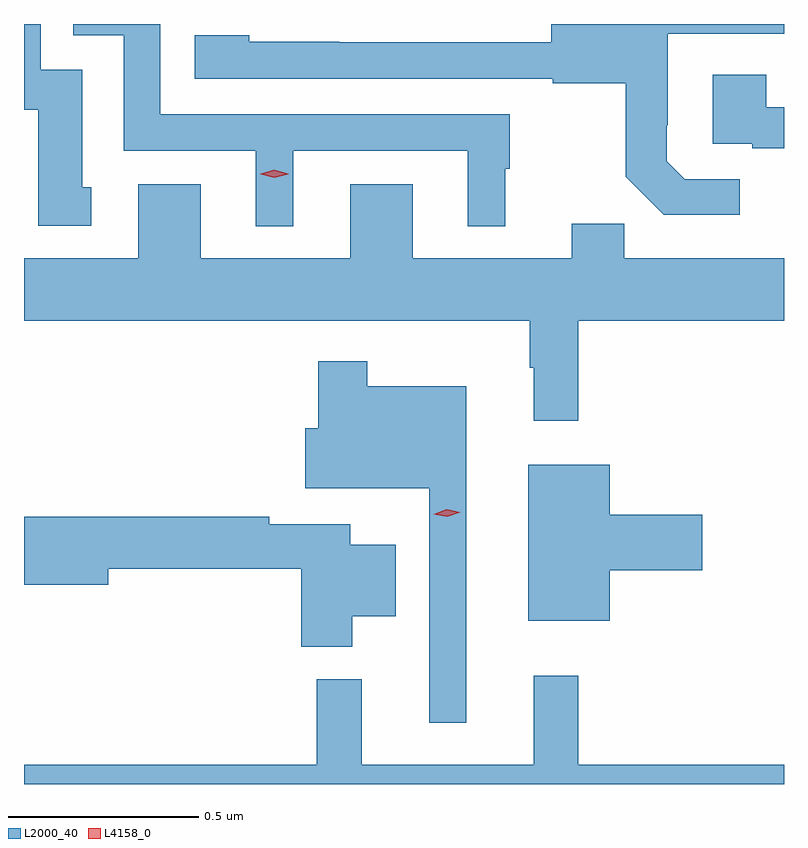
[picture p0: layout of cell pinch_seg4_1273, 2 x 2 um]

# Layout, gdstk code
import gdstk
lib = gdstk.Library(unit=1e-6, precision=1e-09)
def P(c, l, *ps):  # polygons
    for p in ps: c.add(gdstk.Polygon(p, *l))
L2000_40 = (2000, 40)
L4158_0 = (4158, 0)

pinch_seg4_1273 = lib.new_cell('pinch_seg4_1273')
P(pinch_seg4_1273, L2000_40, [(155.62,813.177),(155.475,813.177),(155.428,813.224),(155.428,813.319),(155.43,813.319),(155.43,813.56),(155.736,813.56),(155.736,813.585),(155.123,813.585),(155.123,813.537),(154.565,813.537),(154.565,813.538),(154.329,813.538),(154.329,813.556),(154.185,813.556),(154.185,813.441),(155.127,813.441),(155.127,813.429),(155.319,813.429),(155.319,813.183),(155.419,813.083),(155.62,813.083)],
  [(154.444,813.252),(154.904,813.252),(154.904,813.053),(155.002,813.053),(155.002,813.204),(155.014,813.204),(155.014,813.348),(154.095,813.348),(154.095,813.585),(153.865,813.585),(153.865,813.555),(153.999,813.555),(153.999,813.252),(154.346,813.252),(154.346,813.053),(154.444,813.053)],
  [(153.913,813.156),(153.889,813.156),(153.889,813.465),(153.78,813.465),(153.78,813.585),(153.736,813.585),(153.736,813.36),(153.773,813.36),(153.773,813.054),(153.913,813.054)],
  [(155.736,813.366),(155.689,813.366),(155.689,813.451),(155.549,813.451),(155.549,813.27),(155.653,813.27),(155.653,813.258),(155.736,813.258)],
  [(155.195,812.804),(155.736,812.804),(155.736,812.968),(155.315,812.968),(155.315,813.059),(155.177,813.059),(155.177,812.968),(154.759,812.968),(154.759,813.163),(154.595,813.163),(154.595,812.968),(154.201,812.968),(154.201,813.163),(154.037,813.163),(154.037,812.968),(153.736,812.968),(153.736,812.804),(155.067,812.804),(155.067,812.681),(155.078,812.681),(155.078,812.541),(155.195,812.541)],
  [(154.9,812.632),(154.639,812.632),(154.639,812.698),(154.51,812.698),(154.51,812.521),(154.476,812.521),(154.476,812.363),(154.803,812.363),(154.803,811.746),(154.9,811.746)],
  [(155.278,812.147),(155.521,812.147),(155.521,812.294),(155.278,812.294),(155.278,812.425),(155.063,812.425),(155.063,812.015),(155.278,812.015)],
  [(154.6,812.027),(154.714,812.027),(154.714,812.215),(154.594,812.215),(154.594,812.268),(154.382,812.268),(154.382,812.288),(153.736,812.288),(153.736,812.11),(153.958,812.11),(153.958,812.152),(154.466,812.152),(154.466,811.946),(154.6,811.946)],
  [(155.736,811.636),(155.195,811.636),(155.195,811.87),(155.078,811.87),(155.078,811.636),(154.625,811.636),(154.625,811.861),(154.507,811.861),(154.507,811.636),(153.736,811.636),(153.736,811.585),(155.736,811.585)])
P(pinch_seg4_1273, L4158_0, [(154.395,813.181),(154.359,813.19),(154.359,813.191),(154.359,813.191),(154.395,813.201),(154.431,813.191),(154.431,813.191),(154.431,813.19)],
  [(154.85,812.288),(154.814,812.295),(154.814,812.295),(154.814,812.295),(154.848,812.308),(154.884,812.3),(154.884,812.3),(154.884,812.3)])

lib.write_gds('pinch_seg4_1273.gds')
